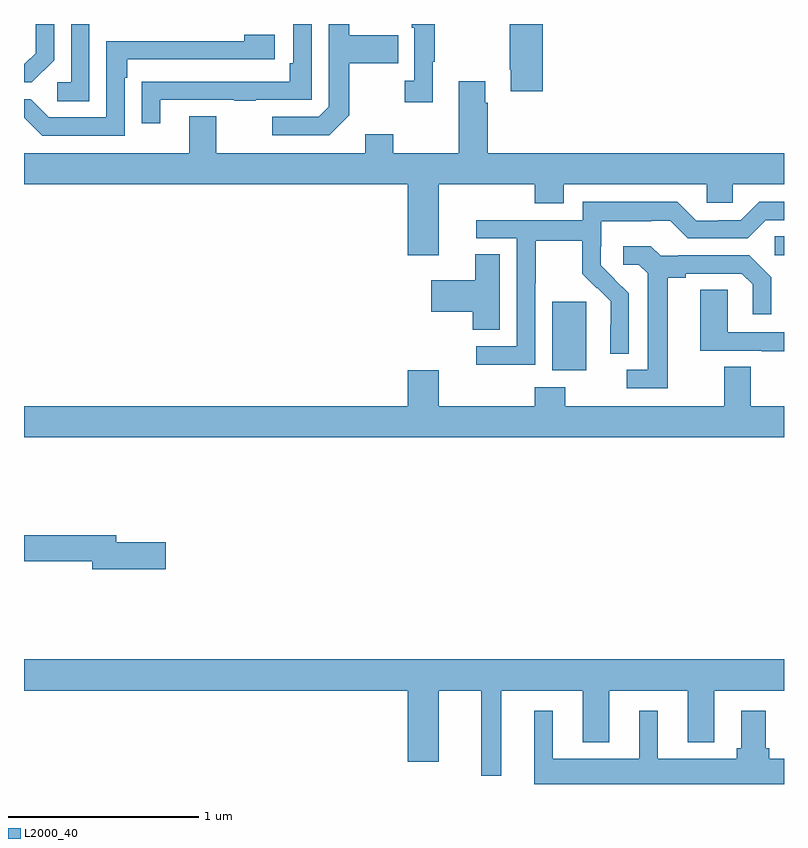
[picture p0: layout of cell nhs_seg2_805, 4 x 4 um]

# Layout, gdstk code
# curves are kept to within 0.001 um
import gdstk
lib = gdstk.Library(unit=1e-6, precision=1e-09)
def R(c, l, rs):  # rectangles x0, y0, x1, y1
    for r in rs: c.add(gdstk.rectangle(r[:2], r[2:], *l))
def P(c, l, *ps):  # polygons
    for p in ps: c.add(gdstk.Polygon(p, *l))
L2000_40 = (2000, 40)

nhs_seg2_805 = lib.new_cell('nhs_seg2_805')
R(nhs_seg2_805, L2000_40, [(153.779,659.978,153.958,660.339), (154.95,660.582,155,660.683)])
P(nhs_seg2_805, L2000_40, [(153.731,661.8),(153.556,661.8),(153.556,661.558),(153.563,661.558),(153.563,661.446),(153.731,661.446)],
  [(151.158,661.61),(151.158,661.8),(151.061,661.8),(151.061,661.647),(151.004,661.59),(151,661.59),(151,661.494),(151.042,661.494)],
  [(151.717,661.401),(152.107,661.401),(152.107,661.396),(152.219,661.396),(152.219,661.401),(152.514,661.401),(152.514,661.8),(152.418,661.8),(152.418,661.594),(152.398,661.594),(152.398,661.497),(151.723,661.497),(151.723,661.496),(151.621,661.496),(151.621,661.278),(151.717,661.278)],
  [(152.713,661.321),(152.713,661.594),(152.969,661.594),(152.969,661.741),(152.713,661.741),(152.713,661.8),(152.604,661.8),(152.604,661.365),(152.55,661.311),(152.307,661.311),(152.307,661.215),(152.607,661.215)],
  [(151.344,661.8),(151.248,661.8),(151.248,661.494),(151.176,661.494),(151.176,661.393),(151.344,661.393)],
  [(153.151,661.601),(153.163,661.601),(153.163,661.8),(153.042,661.8),(153.042,661.781),(153.054,661.781),(153.054,661.502),(153.003,661.502),(153.003,661.389),(153.151,661.389)],
  [(151.53,661.517),(151.543,661.517),(151.543,661.614),(152.32,661.614),(152.32,661.744),(152.159,661.744),(152.159,661.71),(151.434,661.71),(151.434,661.308),(151.131,661.308),(151.035,661.404),(151,661.404),(151,661.307),(151.095,661.212),(151.53,661.212)],
  [(153.184,660.956),(153.689,660.956),(153.689,660.857),(153.841,660.857),(153.841,660.956),(154.593,660.956),(154.593,660.858),(154.731,660.858),(154.731,660.956),(155,660.956),(155,661.12),(153.44,661.12),(153.44,661.385),(153.427,661.385),(153.427,661.498),(153.287,661.498),(153.287,661.12),(152.943,661.12),(152.943,661.219),(152.795,661.219),(152.795,661.12),(152.011,661.12),(152.011,661.315),(151.871,661.315),(151.871,661.12),(151,661.12),(151,660.956),(153.02,660.956),(153.02,660.582),(153.184,660.582)],
  [(153.69,660.436),(153.693,660.436),(153.693,660.66),(153.937,660.66),(153.937,660.485),(154.014,660.408),(154.017,660.411),(154.088,660.341),(154.088,660.218),(154.086,660.218),(154.086,660.064),(154.182,660.064),(154.182,660.382),(154.036,660.53),(154.036,660.627),(154.038,660.627),(154.038,660.761),(154.301,660.761),(154.301,660.765),(154.401,660.765),(154.494,660.672),(154.809,660.672),(154.905,660.768),(155,660.768),(155,660.864),(154.869,660.864),(154.773,660.768),(154.655,660.768),(154.655,660.765),(154.539,660.765),(154.439,660.865),(153.942,660.865),(153.942,660.768),(153.381,660.768),(153.381,660.672),(153.594,660.672),(153.594,660.105),(153.381,660.105),(153.381,660.007),(153.69,660.007)],
  [(154.387,660.464),(154.483,660.464),(154.483,660.486),(154.778,660.486),(154.835,660.429),(154.835,660.273),(154.932,660.273),(154.932,660.466),(154.816,660.582),(154.444,660.582),(154.444,660.579),(154.35,660.579),(154.298,660.631),(154.155,660.631),(154.155,660.534),(154.236,660.534),(154.283,660.487),(154.283,659.979),(154.173,659.979),(154.173,659.883),(154.387,659.883)],
  [(153.505,660.587),(153.374,660.587),(153.374,660.451),(153.144,660.451),(153.144,660.286),(153.362,660.286),(153.362,660.19),(153.505,660.19)],
  [(155,660.177),(154.704,660.177),(154.704,660.401),(154.559,660.401),(154.559,660.081),(154.883,660.081),(154.883,660.077),(155,660.077)],
  [(153.02,659.977),(153.02,659.788),(151,659.788),(151,659.624),(155,659.624),(155,659.788),(154.825,659.788),(154.825,659.996),(154.685,659.996),(154.685,659.788),(153.849,659.788),(153.849,659.887),(153.689,659.887),(153.689,659.788),(153.184,659.788),(153.184,659.977)],
  [(151.747,659.072),(151.486,659.072),(151.486,659.108),(151,659.108),(151,658.972),(151.358,658.972),(151.358,658.93),(151.747,658.93)],
  [(153.511,658.292),(153.941,658.292),(153.941,658.019),(154.081,658.019),(154.081,658.292),(154.493,658.292),(154.493,658.019),(154.633,658.019),(154.633,658.292),(155,658.292),(155,658.456),(151,658.456),(151,658.292),(153.02,658.292),(153.02,657.918),(153.184,657.918),(153.184,658.292),(153.407,658.292),(153.407,657.843),(153.511,657.843)],
  [(155,657.934),(154.923,657.934),(154.923,657.987),(154.903,657.987),(154.903,658.186),(154.775,658.186),(154.775,657.987),(154.75,657.987),(154.75,657.934),(154.336,657.934),(154.336,658.186),(154.238,658.186),(154.238,657.934),(153.784,657.934),(153.784,658.186),(153.686,658.186),(153.686,657.8),(155,657.8)])

lib.write_gds('nhs_seg2_805.gds')
